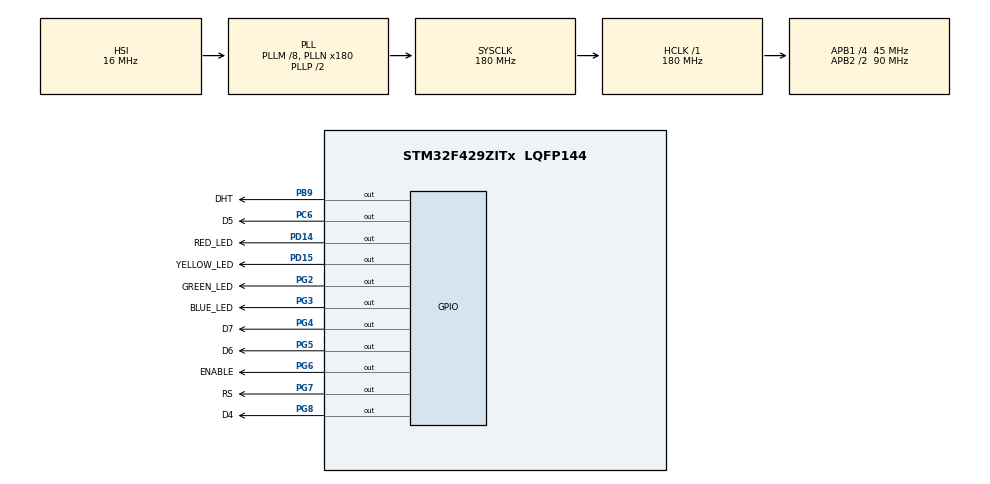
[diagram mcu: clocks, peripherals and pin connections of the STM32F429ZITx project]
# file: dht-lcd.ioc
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Mcu.Family=STM32F4
Mcu.Name=STM32F429ZITx
Mcu.Package=LQFP144
NVIC.PriorityGroup=NVIC_PRIORITYGROUP_4
PB9.GPIO_Label=DHT
PB9.Signal=GPIO_Output
PC6.GPIO_Label=D5
PC6.Signal=GPIO_Output
PD14.GPIO_Label=RED_LED
PD14.Signal=GPIO_Output
PD15.GPIO_Label=YELLOW_LED
PD15.Signal=GPIO_Output
PG2.GPIO_Label=GREEN_LED
PG2.Signal=GPIO_Output
PG3.GPIO_Label=BLUE_LED
PG3.Signal=GPIO_Output
PG4.GPIO_Label=D7
PG4.Signal=GPIO_Output
PG5.GPIO_Label=D6
PG5.Signal=GPIO_Output
PG6.GPIO_Label=ENABLE
PG6.Signal=GPIO_Output
PG7.GPIO_Label=RS
PG7.Signal=GPIO_Output
PG8.GPIO_Label=D4
PG8.Signal=GPIO_Output
PH0/OSC_IN.Mode=HSE-External-Oscillator
PH0/OSC_IN.Signal=RCC_OSC_IN
PH1/OSC_OUT.Mode=HSE-External-Oscillator
PH1/OSC_OUT.Signal=RCC_OSC_OUT
ProjectManager.HeapSize=0x200
ProjectManager.StackSize=0x400
ProjectManager.TargetToolchain=Makefile
RCC.48MHZClocksFreq_Value=90000000
RCC.AHBFreq_Value=180000000
RCC.APB1CLKDivider=RCC_HCLK_DIV4
RCC.APB1Freq_Value=45000000
RCC.APB1TimFreq_Value=90000000
RCC.APB2CLKDivider=RCC_HCLK_DIV2
RCC.APB2Freq_Value=90000000
RCC.APB2TimFreq_Value=180000000
RCC.CortexFreq_Value=180000000
RCC.HCLKFreq_Value=180000000
RCC.HSE_VALUE=25000000
RCC.HSI_VALUE=16000000
RCC.LSE_VALUE=32768
RCC.PLLM=8
RCC.PLLN=180
RCC.SYSCLKFreq_VALUE=180000000
RCC.SYSCLKSource=RCC_SYSCLKSOURCE_PLLCLK
RCC.VCOOutputFreq_Value=360000000
TIM1.Prescaler=179
VP_TIM1_VS_ClockSourceINT.Mode=Internal
board=custom

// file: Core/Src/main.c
/* USER CODE BEGIN Header */
/**
 ******************************************************************************
 * @file           : main.c
 * @brief          : Main program body
 ******************************************************************************
 * @attention
 *
 * Copyright (c) 2023 STMicroelectronics.
 * All rights reserved.
 *
 * This software is licensed under terms that can be found in the LICENSE file
 * in the root directory of this software component.
 * If no LICENSE file comes with this software, it is provided AS-IS.
 *
 ******************************************************************************
 */
/* USER CODE END Header */
#include "main.h"

/* USER CODE BEGIN Includes */
#include "dht.h"
#include "hd44780.h"
#include "stm32f4xx_hal.h"
#include <stdint.h>

/* USER CODE END Includes */

TIM_HandleTypeDef htim1;

/* USER CODE BEGIN PV */
static struct LCD screen = {0};

/* USER CODE END PV */

void SystemClock_Config(void);
static void MX_GPIO_Init(void);
static void MX_TIM1_Init(void);

/* USER CODE BEGIN 0 */
void microDelay(uint16_t delay) {
  __HAL_TIM_SET_COUNTER(&htim1, 0);
  while (__HAL_TIM_GET_COUNTER(&htim1) < delay)
    ;
}

/* USER CODE END 0 */

int main(void)
{

  /* MCU Configuration--------------------------------------------------------*/

  /* Reset of all peripherals, Initializes the Flash interface and the Systick. */
  HAL_Init();

  /* Configure the system clock */
  SystemClock_Config();

  /* Initialize all configured peripherals */
  MX_GPIO_Init();
  MX_TIM1_Init();
  /* USER CODE BEGIN 2 */
  HAL_TIM_Base_Start(&htim1);
  init_screen(&screen);
  uint16_t data_pin[8] = {D4_Pin, D5_Pin, D6_Pin, D7_Pin, 0, 0, 0, 0};
  GPIO_TypeDef *ports[8] = {
      D4_GPIO_Port, D5_GPIO_Port, D6_GPIO_Port, D7_GPIO_Port, 0, 0, 0, 0};
  screen.init(2, 1, data_pin, ports, &screen);
  screen.print("DHT11 sensor", &screen);
  HAL_Delay(2000);
  screen.clear(&screen);
  struct DHT_data dht_data = {0};
  /* USER CODE END 2 */

  /* Infinite loop */
  /* USER CODE BEGIN WHILE */
  while (1) {
    DHT_Read_A(&dht_data);
    screen.home(&screen);
    screen.print_float(dht_data.temperature, 2, &screen);
    char str[4] = {' ', 223, 'C', '\0'};
    screen.print(str, &screen);
    screen.set_cursor(0, 1, &screen);
    char str_hum[4] = {' ', '%', '\0'};
    screen.print_float(dht_data.humidity, 2, &screen);
    screen.print(str_hum, &screen);
    HAL_Delay(2000);
    /* USER CODE END WHILE */

  }
}

void SystemClock_Config(void)
{
  RCC_OscInitTypeDef RCC_OscInitStruct = {0};
  RCC_ClkInitTypeDef RCC_ClkInitStruct = {0};

  /** Configure the main internal regulator output voltage
  */
  __HAL_RCC_PWR_CLK_ENABLE();
  __HAL_PWR_VOLTAGESCALING_CONFIG(PWR_REGULATOR_VOLTAGE_SCALE1);

  /** Initializes the RCC Oscillators according to the specified parameters
  * in the RCC_OscInitTypeDef structure.
  */
  RCC_OscInitStruct.OscillatorType = RCC_OSCILLATORTYPE_HSI;
  RCC_OscInitStruct.HSIState = RCC_HSI_ON;
  RCC_OscInitStruct.HSICalibrationValue = RCC_HSICALIBRATION_DEFAULT;
  RCC_OscInitStruct.PLL.PLLState = RCC_PLL_ON;
  RCC_OscInitStruct.PLL.PLLSource = RCC_PLLSOURCE_HSI;
  RCC_OscInitStruct.PLL.PLLM = 8;
  RCC_OscInitStruct.PLL.PLLN = 180;
  RCC_OscInitStruct.PLL.PLLP = RCC_PLLP_DIV2;
  RCC_OscInitStruct.PLL.PLLQ = 4;
  if (HAL_RCC_OscConfig(&RCC_OscInitStruct) != HAL_OK)
  {
    Error_Handler();
  }

  /** Activate the Over-Drive mode
  */
  if (HAL_PWREx_EnableOverDrive() != HAL_OK)
  {
    Error_Handler();
  }

  /** Initializes the CPU, AHB and APB buses clocks
  */
  RCC_ClkInitStruct.ClockType = RCC_CLOCKTYPE_HCLK|RCC_CLOCKTYPE_SYSCLK
                              |RCC_CLOCKTYPE_PCLK1|RCC_CLOCKTYPE_PCLK2;
  RCC_ClkInitStruct.SYSCLKSource = RCC_SYSCLKSOURCE_PLLCLK;
  RCC_ClkInitStruct.AHBCLKDivider = RCC_SYSCLK_DIV1;
  RCC_ClkInitStruct.APB1CLKDivider = RCC_HCLK_DIV4;
  RCC_ClkInitStruct.APB2CLKDivider = RCC_HCLK_DIV2;

  if (HAL_RCC_ClockConfig(&RCC_ClkInitStruct, FLASH_LATENCY_5) != HAL_OK)
  {
    Error_Handler();
  }
}

static void MX_TIM1_Init(void)
{

  TIM_ClockConfigTypeDef sClockSourceConfig = {0};
  TIM_MasterConfigTypeDef sMasterConfig = {0};

  htim1.Instance = TIM1;
  htim1.Init.Prescaler = 179;
  htim1.Init.CounterMode = TIM_COUNTERMODE_UP;
  htim1.Init.Period = 65535;
  htim1.Init.ClockDivision = TIM_CLOCKDIVISION_DIV1;
  htim1.Init.RepetitionCounter = 0;
  htim1.Init.AutoReloadPreload = TIM_AUTORELOAD_PRELOAD_DISABLE;
  if (HAL_TIM_Base_Init(&htim1) != HAL_OK)
  {
    Error_Handler();
  }
  sClockSourceConfig.ClockSource = TIM_CLOCKSOURCE_INTERNAL;
  if (HAL_TIM_ConfigClockSource(&htim1, &sClockSourceConfig) != HAL_OK)
  {
    Error_Handler();
  }
  sMasterConfig.MasterOutputTrigger = TIM_TRGO_RESET;
  sMasterConfig.MasterSlaveMode = TIM_MASTERSLAVEMODE_DISABLE;
  if (HAL_TIMEx_MasterConfigSynchronization(&htim1, &sMasterConfig) != HAL_OK)
  {
    Error_Handler();
  }

}

static void MX_GPIO_Init(void)
{
  GPIO_InitTypeDef GPIO_InitStruct = {0};

  /* GPIO Ports Clock Enable */
  __HAL_RCC_GPIOH_CLK_ENABLE();
  __HAL_RCC_GPIOD_CLK_ENABLE();
  __HAL_RCC_GPIOG_CLK_ENABLE();
  __HAL_RCC_GPIOC_CLK_ENABLE();
  __HAL_RCC_GPIOB_CLK_ENABLE();

  /*Configure GPIO pin Output Level */
  HAL_GPIO_WritePin(GPIOD, RED_LED_Pin|YELLOW_LED_Pin, GPIO_PIN_RESET);

  /*Configure GPIO pin Output Level */
  HAL_GPIO_WritePin(GPIOG, GREEN_LED_Pin|BLUE_LED_Pin|D7_Pin|D6_Pin
                          |ENABLE_Pin|RS_Pin|D4_Pin, GPIO_PIN_RESET);

  /*Configure GPIO pin Output Level */
  HAL_GPIO_WritePin(D5_GPIO_Port, D5_Pin, GPIO_PIN_RESET);

  /*Configure GPIO pin Output Level */
  HAL_GPIO_WritePin(DHT_GPIO_Port, DHT_Pin, GPIO_PIN_RESET);

  /*Configure GPIO pins : RED_LED_Pin YELLOW_LED_Pin */
  GPIO_InitStruct.Pin = RED_LED_Pin|YELLOW_LED_Pin;
  GPIO_InitStruct.Mode = GPIO_MODE_OUTPUT_PP;
  GPIO_InitStruct.Pull = GPIO_NOPULL;
  GPIO_InitStruct.Speed = GPIO_SPEED_FREQ_LOW;
  HAL_GPIO_Init(GPIOD, &GPIO_InitStruct);

  /*Configure GPIO pins : GREEN_LED_Pin BLUE_LED_Pin D7_Pin D6_Pin
                           ENABLE_Pin RS_Pin D4_Pin */
  GPIO_InitStruct.Pin = GREEN_LED_Pin|BLUE_LED_Pin|D7_Pin|D6_Pin
                          |ENABLE_Pin|RS_Pin|D4_Pin;
  GPIO_InitStruct.Mode = GPIO_MODE_OUTPUT_PP;
  GPIO_InitStruct.Pull = GPIO_NOPULL;
  GPIO_InitStruct.Speed = GPIO_SPEED_FREQ_LOW;
  HAL_GPIO_Init(GPIOG, &GPIO_InitStruct);

  /*Configure GPIO pin : D5_Pin */
  GPIO_InitStruct.Pin = D5_Pin;
  GPIO_InitStruct.Mode = GPIO_MODE_OUTPUT_PP;
  GPIO_InitStruct.Pull = GPIO_NOPULL;
  GPIO_InitStruct.Speed = GPIO_SPEED_FREQ_LOW;
  HAL_GPIO_Init(D5_GPIO_Port, &GPIO_InitStruct);

  /*Configure GPIO pin : DHT_Pin */
  GPIO_InitStruct.Pin = DHT_Pin;
  GPIO_InitStruct.Mode = GPIO_MODE_OUTPUT_PP;
  GPIO_InitStruct.Pull = GPIO_NOPULL;
  GPIO_InitStruct.Speed = GPIO_SPEED_FREQ_LOW;
  HAL_GPIO_Init(DHT_GPIO_Port, &GPIO_InitStruct);

}

void Error_Handler(void)
{
  /* USER CODE BEGIN Error_Handler_Debug */
  /* User can add his own implementation to report the HAL error return state
   */
  __disable_irq();
  while (1) {
  }
  /* USER CODE END Error_Handler_Debug */
}

#ifdef  USE_FULL_ASSERT
/**
  * @brief  Reports the name of the source file and the source line number
  *         where the assert_param error has occurred.
  * @param  file: pointer to the source file name
  * @param  line: assert_param error line source number
  * @retval None
  */
void assert_failed(uint8_t *file, uint32_t line)
{
  /* USER CODE BEGIN 6 */
  /* User can add his own implementation to report the file name and line
number, ex: printf("Wrong parameters value: file %s on line %d\r\n", file,
line)
*/
  /* USER CODE END 6 */
}
#endif /* USE_FULL_ASSERT */
